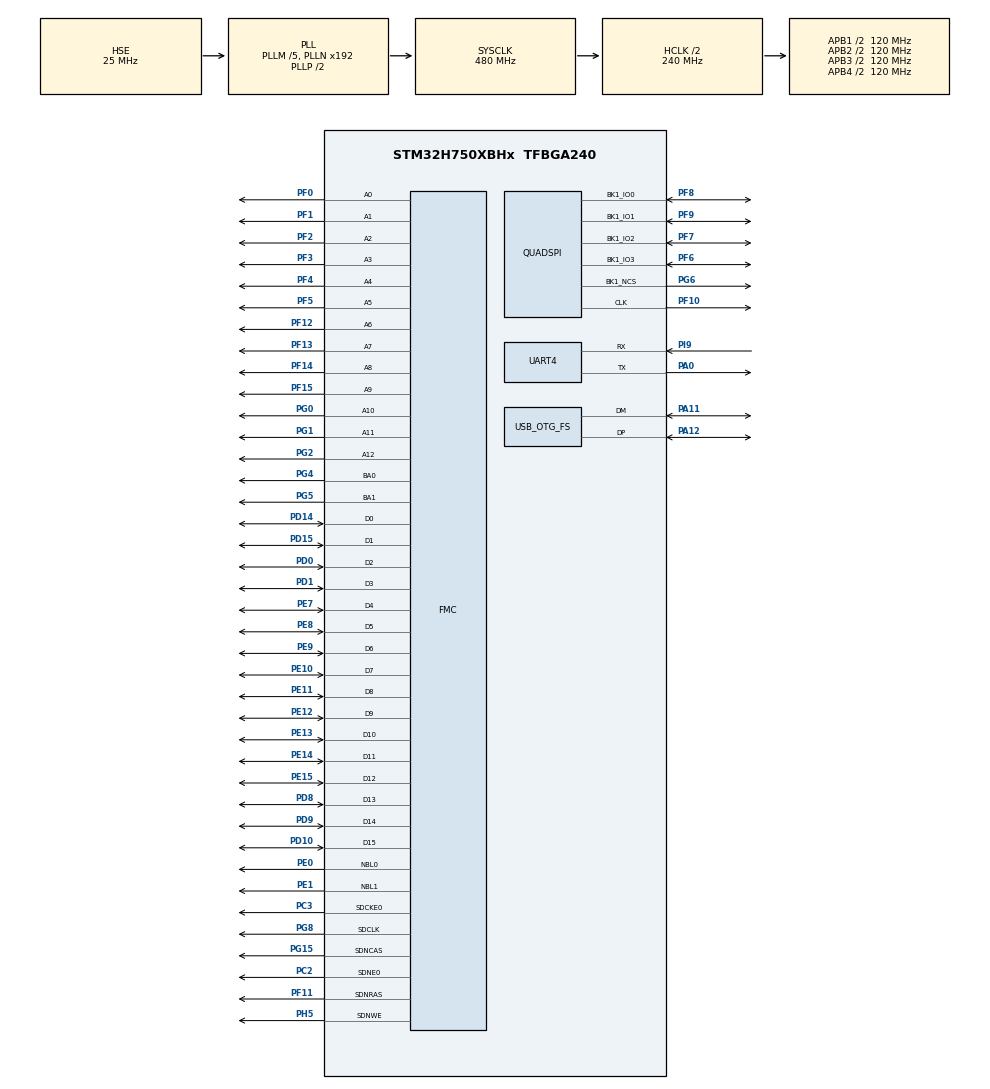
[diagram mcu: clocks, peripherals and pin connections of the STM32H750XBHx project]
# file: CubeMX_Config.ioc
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FMC.CASLatency1=FMC_SDRAM_CAS_LATENCY_3
FMC.ColumnBitsNumber1=FMC_SDRAM_COLUMN_BITS_NUM_9
FMC.ExitSelfRefreshDelay1=9
FMC.LoadToActiveDelay1=2
FMC.RCDDelay1=2
FMC.RPDelay1=2
FMC.RPDelay2=2
FMC.ReadBurst1=FMC_SDRAM_RBURST_ENABLE
FMC.ReadBurst2=FMC_SDRAM_RBURST_ENABLE
FMC.RowCycleDelay1=8
FMC.RowCycleDelay2=8
FMC.SDClockPeriod1=FMC_SDRAM_CLOCK_PERIOD_2
FMC.SDClockPeriod2=FMC_SDRAM_CLOCK_PERIOD_2
FMC.SelfRefreshTime1=6
FMC.WriteRecoveryTime1=4
Mcu.Family=STM32H7
Mcu.Name=STM32H750XBHx
Mcu.Package=TFBGA240
NVIC.OTG_FS_IRQn=true\:0\:0\:false\:false\:true\:false\:true\:true
NVIC.PriorityGroup=NVIC_PRIORITYGROUP_4
PA0.Mode=Asynchronous
PA0.Signal=UART4_TX
PA11.Mode=Device_Only
PA11.Signal=USB_OTG_FS_DM
PA12.Mode=Device_Only
PA12.Signal=USB_OTG_FS_DP
PA4.Signal=SPI1_NSS
PA5.Signal=SPI1_SCK
PC2.Mode=SdramChipSelect1_1
PC2.Signal=FMC_SDNE0
PC3.Mode=SdramChipSelect1_1
PC3.Signal=FMC_SDCKE0
PD0.Signal=FMC_D2_DA2
PD1.Signal=FMC_D3_DA3
PD10.Signal=FMC_D15_DA15
PD14.Signal=FMC_D0_DA0
PD15.Signal=FMC_D1_DA1
PD8.Signal=FMC_D13_DA13
PD9.Signal=FMC_D14_DA14
PE0.Signal=FMC_NBL0
PE1.Signal=FMC_NBL1
PE10.Signal=FMC_D7_DA7
PE11.Signal=FMC_D8_DA8
PE12.Signal=FMC_D9_DA9
PE13.Signal=FMC_D10_DA10
PE14.Signal=FMC_D11_DA11
PE15.Signal=FMC_D12_DA12
PE7.Signal=FMC_D4_DA4
PE8.Signal=FMC_D5_DA5
PE9.Signal=FMC_D6_DA6
PF0.Signal=FMC_A0
PF1.Signal=FMC_A1
PF10.GPIO_Speed=GPIO_SPEED_FREQ_VERY_HIGH
PF10.Mode=Single Bank 1
PF10.Signal=QUADSPI_CLK
PF11.Signal=FMC_SDNRAS
PF12.Signal=FMC_A6
PF13.Signal=FMC_A7
PF14.Signal=FMC_A8
PF15.Signal=FMC_A9
PF2.Signal=FMC_A2
PF3.Signal=FMC_A3
PF4.Signal=FMC_A4
PF5.Signal=FMC_A5
PF6.GPIO_Speed=GPIO_SPEED_FREQ_VERY_HIGH
PF6.Mode=Single Bank 1
PF6.Signal=QUADSPI_BK1_IO3
PF7.GPIO_Speed=GPIO_SPEED_FREQ_VERY_HIGH
PF7.Mode=Single Bank 1
PF7.Signal=QUADSPI_BK1_IO2
PF8.GPIO_Speed=GPIO_SPEED_FREQ_VERY_HIGH
PF8.Mode=Single Bank 1
PF8.Signal=QUADSPI_BK1_IO0
PF9.GPIO_Speed=GPIO_SPEED_FREQ_VERY_HIGH
PF9.Mode=Single Bank 1
PF9.Signal=QUADSPI_BK1_IO1
PG0.Signal=FMC_A10
PG1.Signal=FMC_A11
PG11.GPIO_Speed=GPIO_SPEED_FREQ_VERY_HIGH
PG11.Signal=ETH_TX_EN
PG14.GPIO_Speed=GPIO_SPEED_FREQ_VERY_HIGH
PG14.Signal=ETH_TXD1
PG15.Signal=FMC_SDNCAS
PG2.Signal=FMC_A12
PG4.Signal=FMC_A14_BA0
PG5.Signal=FMC_A15_BA1
PG6.GPIO_Speed=GPIO_SPEED_FREQ_VERY_HIGH
PG6.Mode=Single Bank 1
PG6.Signal=QUADSPI_BK1_NCS
PG8.Signal=FMC_SDCLK
PH0-OSC_IN\ (PH0).Mode=HSE-External-Oscillator
PH0-OSC_IN\ (PH0).Signal=RCC_OSC_IN
PH1-OSC_OUT\ (PH1).Mode=HSE-External-Oscillator
PH1-OSC_OUT\ (PH1).Signal=RCC_OSC_OUT
PH5.GPIO_Speed_High_Default=GPIO_SPEED_FREQ_VERY_HIGH
PH5.Signal=FMC_SDNWE
PI12.GPIO_Speed=GPIO_SPEED_FREQ_VERY_HIGH
PI12.Signal=LTDC_HSYNC
PI13.GPIO_Speed=GPIO_SPEED_FREQ_VERY_HIGH
PI13.Signal=LTDC_VSYNC
PI14.GPIO_Speed=GPIO_SPEED_FREQ_VERY_HIGH
PI14.Signal=LTDC_CLK
PI15.GPIO_Speed=GPIO_SPEED_FREQ_VERY_HIGH
PI15.Signal=LTDC_R0
PI9.Mode=Asynchronous
PI9.Signal=UART4_RX
PJ10.GPIO_Speed=GPIO_SPEED_FREQ_VERY_HIGH
PJ10.Signal=LTDC_G3
PJ11.GPIO_Speed=GPIO_SPEED_FREQ_VERY_HIGH
PJ11.Signal=LTDC_G4
PJ12.GPIO_Speed=GPIO_SPEED_FREQ_VERY_HIGH
PJ12.Signal=LTDC_B0
PJ13.GPIO_Speed=GPIO_SPEED_FREQ_VERY_HIGH
PJ13.Signal=LTDC_B1
PJ2.GPIO_Speed=GPIO_SPEED_FREQ_VERY_HIGH
PJ2.Signal=LTDC_R3
PJ3.GPIO_Speed=GPIO_SPEED_FREQ_VERY_HIGH
PJ3.Signal=LTDC_R4
PJ4.GPIO_Speed=GPIO_SPEED_FREQ_VERY_HIGH
PJ4.Signal=LTDC_R5
PJ5.GPIO_Speed=GPIO_SPEED_FREQ_VERY_HIGH
PJ5.Signal=LTDC_R6
PJ6.GPIO_Speed=GPIO_SPEED_FREQ_VERY_HIGH
PJ6.Signal=LTDC_R7
PJ9.GPIO_Speed=GPIO_SPEED_FREQ_VERY_HIGH
PJ9.Signal=LTDC_G2
PK0.GPIO_Speed=GPIO_SPEED_FREQ_VERY_HIGH
PK0.Signal=LTDC_G5
PK1.GPIO_Speed=GPIO_SPEED_FREQ_VERY_HIGH
PK1.Signal=LTDC_G6
PK2.GPIO_Speed=GPIO_SPEED_FREQ_VERY_HIGH
PK2.Signal=LTDC_G7
PK3.GPIO_Speed=GPIO_SPEED_FREQ_VERY_HIGH
PK3.Signal=LTDC_B4
PK4.GPIO_Speed=GPIO_SPEED_FREQ_VERY_HIGH
PK4.Signal=LTDC_B5
PK5.GPIO_Speed=GPIO_SPEED_FREQ_VERY_HIGH
PK5.Signal=LTDC_B6
PK6.GPIO_Speed=GPIO_SPEED_FREQ_VERY_HIGH
PK6.Signal=LTDC_B7
ProjectManager.HeapSize=0x200
ProjectManager.StackSize=0x400
ProjectManager.TargetToolchain=Makefile
RCC.ADCFreq_Value=200000000
RCC.APB1Freq_Value=120000000
RCC.APB2Freq_Value=120000000
RCC.APB3Freq_Value=120000000
RCC.APB4Freq_Value=120000000
RCC.CortexFreq_Value=480000000
RCC.D1PPRE=RCC_APB3_DIV2
RCC.D2PPRE1=RCC_APB1_DIV2
RCC.D2PPRE2=RCC_APB2_DIV2
RCC.D3PPRE=RCC_APB4_DIV2
RCC.DIVM1=5
RCC.DIVM2=2
RCC.DIVM3=5
RCC.DIVN1=192
RCC.DIVN2=64
RCC.DIVN3=160
RCC.DIVP2=4
RCC.DIVP3=8
RCC.DIVQ3=8
RCC.DIVR2=4
RCC.DIVR3=24
RCC.FMCCLockSelection=RCC_FMCCLKSOURCE_PLL2
RCC.HCLKFreq_Value=240000000
RCC.HPRE=RCC_HCLK_DIV2
RCC.PLL2FRACN=0
RCC.PLLFRACN=0
RCC.PLLSourceVirtual=RCC_PLLSOURCE_HSE
RCC.SDMMC1CLockSelection=RCC_SDMMCCLKSOURCE_PLL2
RCC.SPI123CLockSelection=RCC_SPI123CLKSOURCE_PLL2
RCC.SYSCLKFreq_VALUE=480000000
RCC.SYSCLKSource=RCC_SYSCLKSOURCE_PLLCLK
RCC.Spi45ClockSelection=RCC_SPI45CLKSOURCE_PLL3
RCC.USBCLockSelection=RCC_USBCLKSOURCE_HSI48
RCC.USBFreq_Value=48000000
SH.FMC_A0.0=FMC_A0,13b-sda1
SH.FMC_A1.0=FMC_A1,13b-sda1
SH.FMC_A10.0=FMC_A10,13b-sda1
SH.FMC_A11.0=FMC_A11,13b-sda1
SH.FMC_A12.0=FMC_A12,13b-sda1
SH.FMC_A14_BA0.0=FMC_BA0,FourSdramBanks1
SH.FMC_A15_BA1.0=FMC_BA1,FourSdramBanks1
SH.FMC_A2.0=FMC_A2,13b-sda1
SH.FMC_A3.0=FMC_A3,13b-sda1
SH.FMC_A4.0=FMC_A4,13b-sda1
SH.FMC_A5.0=FMC_A5,13b-sda1
SH.FMC_A6.0=FMC_A6,13b-sda1
SH.FMC_A7.0=FMC_A7,13b-sda1
SH.FMC_A8.0=FMC_A8,13b-sda1
SH.FMC_A9.0=FMC_A9,13b-sda1
SH.FMC_D0_DA0.0=FMC_D0,sd-16b-d1
SH.FMC_D10_DA10.0=FMC_D10,sd-16b-d1
SH.FMC_D11_DA11.0=FMC_D11,sd-16b-d1
SH.FMC_D12_DA12.0=FMC_D12,sd-16b-d1
SH.FMC_D13_DA13.0=FMC_D13,sd-16b-d1
SH.FMC_D14_DA14.0=FMC_D14,sd-16b-d1
SH.FMC_D15_DA15.0=FMC_D15,sd-16b-d1
SH.FMC_D1_DA1.0=FMC_D1,sd-16b-d1
SH.FMC_D2_DA2.0=FMC_D2,sd-16b-d1
SH.FMC_D3_DA3.0=FMC_D3,sd-16b-d1
SH.FMC_D4_DA4.0=FMC_D4,sd-16b-d1
SH.FMC_D5_DA5.0=FMC_D5,sd-16b-d1
SH.FMC_D6_DA6.0=FMC_D6,sd-16b-d1
SH.FMC_D7_DA7.0=FMC_D7,sd-16b-d1
SH.FMC_D8_DA8.0=FMC_D8,sd-16b-d1
SH.FMC_D9_DA9.0=FMC_D9,sd-16b-d1
SH.FMC_NBL0.0=FMC_NBL0,Sd2ByteEnable1
SH.FMC_NBL1.0=FMC_NBL1,Sd2ByteEnable1
SH.FMC_SDCLK.0=FMC_SDCLK,13b-sda1
SH.FMC_SDNCAS.0=FMC_SDNCAS,13b-sda1
SH.FMC_SDNRAS.0=FMC_SDNRAS,13b-sda1
SH.FMC_SDNWE.0=FMC_SDNWE,13b-sda1
USB_DEVICE.CLASS_NAME_FS=CDC
USB_DEVICE.VirtualMode-CDC_FS=Cdc
USB_DEVICE.VirtualModeFS=Cdc_FS
USB_OTG_FS.VirtualMode=Device_Only
VP_USB_DEVICE_VS_USB_DEVICE_CDC_FS.Mode=CDC_FS
board=custom

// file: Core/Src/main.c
/* USER CODE BEGIN Header */
/**
  ******************************************************************************
  * @file           : main.c
  * @brief          : Main program body
  ******************************************************************************
  * @attention
  *
  * <h2><center>&copy; Copyright (c) 2020 STMicroelectronics.
  * All rights reserved.</center></h2>
  *
  * This software component is licensed by ST under BSD 3-Clause license,
  * the "License"; You may not use this file except in compliance with the
  * License. You may obtain a copy of the License at:
  *                        opensource.org/licenses/BSD-3-Clause
  *
  ******************************************************************************
  */
/* USER CODE END Header */
#include "main.h"
#include "usb_device.h"

/* USER CODE BEGIN Includes */
#include "w25qxx.h"

/* USER CODE END Includes */

/* USER CODE BEGIN PTD */

struct image_version {
    uint8_t iv_major;
    uint8_t iv_minor;
    uint16_t iv_revision;
    uint32_t iv_build_num;
};

/** Image header.  All fields are in little endian byte order. */
struct image_header {
    uint32_t ih_magic;
    uint32_t ih_load_addr;
    uint16_t ih_hdr_size;           /* Size of image header (bytes). */
    uint16_t ih_protect_tlv_size;   /* Size of protected TLV area (bytes). */
    uint32_t ih_img_size;           /* Does not include header. */
    uint32_t ih_flags;              /* IMAGE_F_[...]. */
    struct image_version ih_ver;
    uint32_t _pad1;
};

struct boot_rsp {
    /** A pointer to the header of the image to be executed. */
    const struct image_header *br_hdr;

    /**
     * The flash offset of the image to execute.  Indicates the position of
     * the image header within its flash device.
     */
    uint8_t br_flash_dev_id;
    uint32_t br_image_off;
};

/* USER CODE END PTD */

/* USER CODE BEGIN PD */

struct image_header hdr;

struct boot_rsp dummy_rsp;

/* USER CODE END PD */

QSPI_HandleTypeDef hqspi;

UART_HandleTypeDef huart4;

SDRAM_HandleTypeDef hsdram1;

/* USER CODE BEGIN PV */

uint8_t UART4_rxBuffer[12] = {0};

/* USER CODE END PV */

void SystemClock_Config(void);
static void MX_GPIO_Init(void);
static void MX_UART4_Init(void);
extern void MX_QUADSPI_Init(void);
static void MX_FMC_Init(void);

/* USER CODE BEGIN 0 */

/* defined the LED0 pin: PB1 */
#define LED0_PIN    GET_PIN(I, 8)

#define VECT_TAB_OFFSET      0x00000000UL
#define APPLICATION_ADDRESS  (uint32_t)0x90000000

typedef void (*pFunction)(void);
pFunction JumpToApplication;
struct boot_rsp g_mcuboot_rsp;

struct arm_vector_table {
    uint32_t msp;
    uint32_t reset;
};

/**
  * @brief Boot image
  * @param struct boot_rsp * rsp:
  * retval N/A.
  */
static void do_boot(struct boot_rsp * rsp)
{
    struct arm_vector_table *vt;

    //LOG_I("image_off=%x flashid=%d", rsp->br_image_off, rsp->br_flash_dev_id);
    //LOG_I("raw_image_off=%x", (rsp->br_image_off + rsp->br_hdr->ih_hdr_size));

    W25Q_Memory_Mapped_Enable();
    vt = (struct arm_vector_table *)(rsp->br_image_off + rsp->br_hdr->ih_hdr_size);
    SysTick->CTRL = 0;

    SCB->VTOR = (uint32_t)vt;
    __set_MSP(*(__IO uint32_t *)vt->msp);
    ((void (*)(void))vt->reset)();

    while(1)
    {
        // rt_thread_mdelay(500);
    }
}

extern void setNextBuffer();
extern   void main_task(void *parameters);

void boot_uboot() {
  hdr.ih_hdr_size=0;
  dummy_rsp.br_image_off = APPLICATION_ADDRESS;
  dummy_rsp.br_hdr=&hdr;

  do_boot(&dummy_rsp);

}

/* USER CODE END 0 */

int main(void)
{

  /* MCU Configuration--------------------------------------------------------*/

  /* Reset of all peripherals, Initializes the Flash interface and the Systick. */
  HAL_Init();

  /* Configure the system clock */
  SystemClock_Config();

  /* Initialize all configured peripherals */
  MX_GPIO_Init();
  MX_UART4_Init();
  MX_QUADSPI_Init();
  MX_USB_DEVICE_Init();
  MX_FMC_Init();
  /* USER CODE BEGIN 2 */

  //uint8_t Test[] = "Disable ICache !!!\r\n"; //Data to send
  //HAL_UART_Transmit(&huart4,Test,sizeof(Test),21);// Sending in normal mode

  //SCB_DisableICache();
  //SCB_DisableDCache();

  SDRAM_Init();
  mpu_init();

  // Map flash
  W25QXX_ExitQPIMode();
  W25QXX_Reset();
  W25Q_Memory_Mapped_Enable();

  //uint8_t BootText[] = "Enter gdb-stub !!!\r\n"; //Data to send
  //HAL_UART_Transmit(&huart4,BootText,sizeof(BootText),13);// Sending in normal mode

  // Check button press to do proper boot
  #ifdef NOT_NOW
  if (*(int *)0x90000000!=0) {
    boot_uboot();
  }
  #endif
  /* USER CODE END 2 */

  /* Infinite loop */
  /* USER CODE BEGIN WHILE */
  //setNextBuffer();
  int i=0;

  asm volatile(
  "svc #0x10 \n"
  "nop \n"
  "svc #0x10 \n"
  "nop \n");

  // attach target
  gdb_main();

  // test uart interrupt receive

  while (1)
  {
    #if 1
    // gdb main task
    //main_task(NULL);
     uint8_t CounterText[6];
    sprintf(CounterText,"%d\r\n",i);
    HAL_UART_Transmit(&huart4,CounterText,strlen(CounterText),5);// Sending in normal mode
    i++;
    // Unit test, setNextBuffer();
    {
      uint32_t tickstart;

      tickstart = HAL_GetTick();

      while (((HAL_GetTick() - tickstart) < 500 ))
      {
      __ASM volatile ("nop");
      //__asm("nop");
      }
    }
    #endif
    /* USER CODE END WHILE */

  }
}

void SystemClock_Config(void)
{
  RCC_OscInitTypeDef RCC_OscInitStruct = {0};
  RCC_ClkInitTypeDef RCC_ClkInitStruct = {0};

  /** Supply configuration update enable
  */
  HAL_PWREx_ConfigSupply(PWR_LDO_SUPPLY);

  /** Configure the main internal regulator output voltage
  */
  __HAL_PWR_VOLTAGESCALING_CONFIG(PWR_REGULATOR_VOLTAGE_SCALE0);

  while(!__HAL_PWR_GET_FLAG(PWR_FLAG_VOSRDY)) {}

  /** Macro to configure the PLL clock source
  */
  __HAL_RCC_PLL_PLLSOURCE_CONFIG(RCC_PLLSOURCE_HSE);

  /** Initializes the RCC Oscillators according to the specified parameters
  * in the RCC_OscInitTypeDef structure.
  */
  RCC_OscInitStruct.OscillatorType = RCC_OSCILLATORTYPE_HSI48|RCC_OSCILLATORTYPE_HSE;
  RCC_OscInitStruct.HSEState = RCC_HSE_ON;
  RCC_OscInitStruct.HSI48State = RCC_HSI48_ON;
  RCC_OscInitStruct.PLL.PLLState = RCC_PLL_ON;
  RCC_OscInitStruct.PLL.PLLSource = RCC_PLLSOURCE_HSE;
  RCC_OscInitStruct.PLL.PLLM = 5;
  RCC_OscInitStruct.PLL.PLLN = 192;
  RCC_OscInitStruct.PLL.PLLP = 2;
  RCC_OscInitStruct.PLL.PLLQ = 2;
  RCC_OscInitStruct.PLL.PLLR = 2;
  RCC_OscInitStruct.PLL.PLLRGE = RCC_PLL1VCIRANGE_2;
  RCC_OscInitStruct.PLL.PLLVCOSEL = RCC_PLL1VCOWIDE;
  RCC_OscInitStruct.PLL.PLLFRACN = 0;
  if (HAL_RCC_OscConfig(&RCC_OscInitStruct) != HAL_OK)
  {
    Error_Handler();
  }

  /** Initializes the CPU, AHB and APB buses clocks
  */
  RCC_ClkInitStruct.ClockType = RCC_CLOCKTYPE_HCLK|RCC_CLOCKTYPE_SYSCLK
                              |RCC_CLOCKTYPE_PCLK1|RCC_CLOCKTYPE_PCLK2
                              |RCC_CLOCKTYPE_D3PCLK1|RCC_CLOCKTYPE_D1PCLK1;
  RCC_ClkInitStruct.SYSCLKSource = RCC_SYSCLKSOURCE_PLLCLK;
  RCC_ClkInitStruct.SYSCLKDivider = RCC_SYSCLK_DIV1;
  RCC_ClkInitStruct.AHBCLKDivider = RCC_HCLK_DIV2;
  RCC_ClkInitStruct.APB3CLKDivider = RCC_APB3_DIV2;
  RCC_ClkInitStruct.APB1CLKDivider = RCC_APB1_DIV2;
  RCC_ClkInitStruct.APB2CLKDivider = RCC_APB2_DIV2;
  RCC_ClkInitStruct.APB4CLKDivider = RCC_APB4_DIV2;

  if (HAL_RCC_ClockConfig(&RCC_ClkInitStruct, FLASH_LATENCY_4) != HAL_OK)
  {
    Error_Handler();
  }
}

static void MX_LOCAL_QUADSPI_Init(void)
{

  /* QUADSPI parameter configuration*/
  hqspi.Instance = QUADSPI;
  hqspi.Init.ClockPrescaler = 255;
  hqspi.Init.FifoThreshold = 1;
  hqspi.Init.SampleShifting = QSPI_SAMPLE_SHIFTING_NONE;
  hqspi.Init.FlashSize = 1;
  hqspi.Init.ChipSelectHighTime = QSPI_CS_HIGH_TIME_1_CYCLE;
  hqspi.Init.ClockMode = QSPI_CLOCK_MODE_0;
  hqspi.Init.FlashID = QSPI_FLASH_ID_1;
  hqspi.Init.DualFlash = QSPI_DUALFLASH_DISABLE;
  if (HAL_QSPI_Init(&hqspi) != HAL_OK)
  {
    Error_Handler();
  }

}

static void MX_UART4_Init(void)
{

  huart4.Instance = UART4;
  huart4.Init.BaudRate = 115200;
  huart4.Init.WordLength = UART_WORDLENGTH_8B;
  huart4.Init.StopBits = UART_STOPBITS_1;
  huart4.Init.Parity = UART_PARITY_NONE;
  huart4.Init.Mode = UART_MODE_TX_RX;
  huart4.Init.HwFlowCtl = UART_HWCONTROL_NONE;
  huart4.Init.OverSampling = UART_OVERSAMPLING_16;
  huart4.Init.OneBitSampling = UART_ONE_BIT_SAMPLE_DISABLE;
  huart4.Init.ClockPrescaler = UART_PRESCALER_DIV1;
  huart4.AdvancedInit.AdvFeatureInit = UART_ADVFEATURE_NO_INIT;
  if (HAL_UART_Init(&huart4) != HAL_OK)
  {
    Error_Handler();
  }
  if (HAL_UARTEx_SetTxFifoThreshold(&huart4, UART_TXFIFO_THRESHOLD_1_8) != HAL_OK)
  {
    Error_Handler();
  }
  if (HAL_UARTEx_SetRxFifoThreshold(&huart4, UART_RXFIFO_THRESHOLD_1_8) != HAL_OK)
  {
    Error_Handler();
  }
  if (HAL_UARTEx_DisableFifoMode(&huart4) != HAL_OK)
  {
    Error_Handler();
  }

}

/* FMC initialization function */
static void MX_FMC_Init(void)
{

  FMC_SDRAM_TimingTypeDef SdramTiming = {0};

  /** Perform the SDRAM1 memory initialization sequence
  */
  hsdram1.Instance = FMC_SDRAM_DEVICE;
  /* hsdram1.Init */
  hsdram1.Init.SDBank = FMC_SDRAM_BANK1;
  hsdram1.Init.ColumnBitsNumber = FMC_SDRAM_COLUMN_BITS_NUM_9;
  hsdram1.Init.RowBitsNumber = FMC_SDRAM_ROW_BITS_NUM_13;
  hsdram1.Init.MemoryDataWidth = FMC_SDRAM_MEM_BUS_WIDTH_16;
  hsdram1.Init.InternalBankNumber = FMC_SDRAM_INTERN_BANKS_NUM_4;
  hsdram1.Init.CASLatency = FMC_SDRAM_CAS_LATENCY_3;
  hsdram1.Init.WriteProtection = FMC_SDRAM_WRITE_PROTECTION_DISABLE;
  hsdram1.Init.SDClockPeriod = FMC_SDRAM_CLOCK_PERIOD_2;
  hsdram1.Init.ReadBurst = FMC_SDRAM_RBURST_ENABLE;
  hsdram1.Init.ReadPipeDelay = FMC_SDRAM_RPIPE_DELAY_0;
  /* SdramTiming */
  SdramTiming.LoadToActiveDelay = 2;
  SdramTiming.ExitSelfRefreshDelay = 9;
  SdramTiming.SelfRefreshTime = 6;
  SdramTiming.RowCycleDelay = 8;
  SdramTiming.WriteRecoveryTime = 4;
  SdramTiming.RPDelay = 2;
  SdramTiming.RCDDelay = 2;

  if (HAL_SDRAM_Init(&hsdram1, &SdramTiming) != HAL_OK)
  {
    Error_Handler( );
  }

}

static void MX_GPIO_Init(void)
{
  GPIO_InitTypeDef GPIO_InitStruct = {0};

  /* GPIO Ports Clock Enable */
  __HAL_RCC_GPIOK_CLK_ENABLE();
  __HAL_RCC_GPIOE_CLK_ENABLE();
  __HAL_RCC_GPIOG_CLK_ENABLE();
  __HAL_RCC_GPIOJ_CLK_ENABLE();
  __HAL_RCC_GPIOD_CLK_ENABLE();
  __HAL_RCC_GPIOI_CLK_ENABLE();
  __HAL_RCC_GPIOA_CLK_ENABLE();
  __HAL_RCC_GPIOF_CLK_ENABLE();
  __HAL_RCC_GPIOH_CLK_ENABLE();
  __HAL_RCC_GPIOC_CLK_ENABLE();

  /*Configure GPIO pins : PK5 PK4 PK6 PK3
                           PK2 PK0 PK1 */
  GPIO_InitStruct.Pin = GPIO_PIN_5|GPIO_PIN_4|GPIO_PIN_6|GPIO_PIN_3
                          |GPIO_PIN_2|GPIO_PIN_0|GPIO_PIN_1;
  GPIO_InitStruct.Mode = GPIO_MODE_AF_PP;
  GPIO_InitStruct.Pull = GPIO_NOPULL;
  GPIO_InitStruct.Speed = GPIO_SPEED_FREQ_VERY_HIGH;
  GPIO_InitStruct.Alternate = GPIO_AF14_LTDC;
  HAL_GPIO_Init(GPIOK, &GPIO_InitStruct);

  /*Configure GPIO pins : PG11 PG14 */
  GPIO_InitStruct.Pin = GPIO_PIN_11|GPIO_PIN_14;
  GPIO_InitStruct.Mode = GPIO_MODE_AF_PP;
  GPIO_InitStruct.Pull = GPIO_NOPULL;
  GPIO_InitStruct.Speed = GPIO_SPEED_FREQ_VERY_HIGH;
  GPIO_InitStruct.Alternate = GPIO_AF11_ETH;
  HAL_GPIO_Init(GPIOG, &GPIO_InitStruct);

  /*Configure GPIO pins : PJ12 PJ13 PJ11 PJ10
                           PJ9 PJ6 PJ5 PJ2
                           PJ3 PJ4 */
  GPIO_InitStruct.Pin = GPIO_PIN_12|GPIO_PIN_13|GPIO_PIN_11|GPIO_PIN_10
                          |GPIO_PIN_9|GPIO_PIN_6|GPIO_PIN_5|GPIO_PIN_2
                          |GPIO_PIN_3|GPIO_PIN_4;
  GPIO_InitStruct.Mode = GPIO_MODE_AF_PP;
  GPIO_InitStruct.Pull = GPIO_NOPULL;
  GPIO_InitStruct.Speed = GPIO_SPEED_FREQ_VERY_HIGH;
  GPIO_InitStruct.Alternate = GPIO_AF14_LTDC;
  HAL_GPIO_Init(GPIOJ, &GPIO_InitStruct);

  /*Configure GPIO pins : PI12 PI13 PI14 PI15 */
  GPIO_InitStruct.Pin = GPIO_PIN_12|GPIO_PIN_13|GPIO_PIN_14|GPIO_PIN_15;
  GPIO_InitStruct.Mode = GPIO_MODE_AF_PP;
  GPIO_InitStruct.Pull = GPIO_NOPULL;
  GPIO_InitStruct.Speed = GPIO_SPEED_FREQ_VERY_HIGH;
  GPIO_InitStruct.Alternate = GPIO_AF14_LTDC;
  HAL_GPIO_Init(GPIOI, &GPIO_InitStruct);

  /*Configure GPIO pins : PA5 PA4 */
  GPIO_InitStruct.Pin = GPIO_PIN_5|GPIO_PIN_4;
  GPIO_InitStruct.Mode = GPIO_MODE_AF_PP;
  GPIO_InitStruct.Pull = GPIO_NOPULL;
  GPIO_InitStruct.Speed = GPIO_SPEED_FREQ_LOW;
  GPIO_InitStruct.Alternate = GPIO_AF5_SPI1;
  HAL_GPIO_Init(GPIOA, &GPIO_InitStruct);

}

void Error_Handler(void)
{
}
